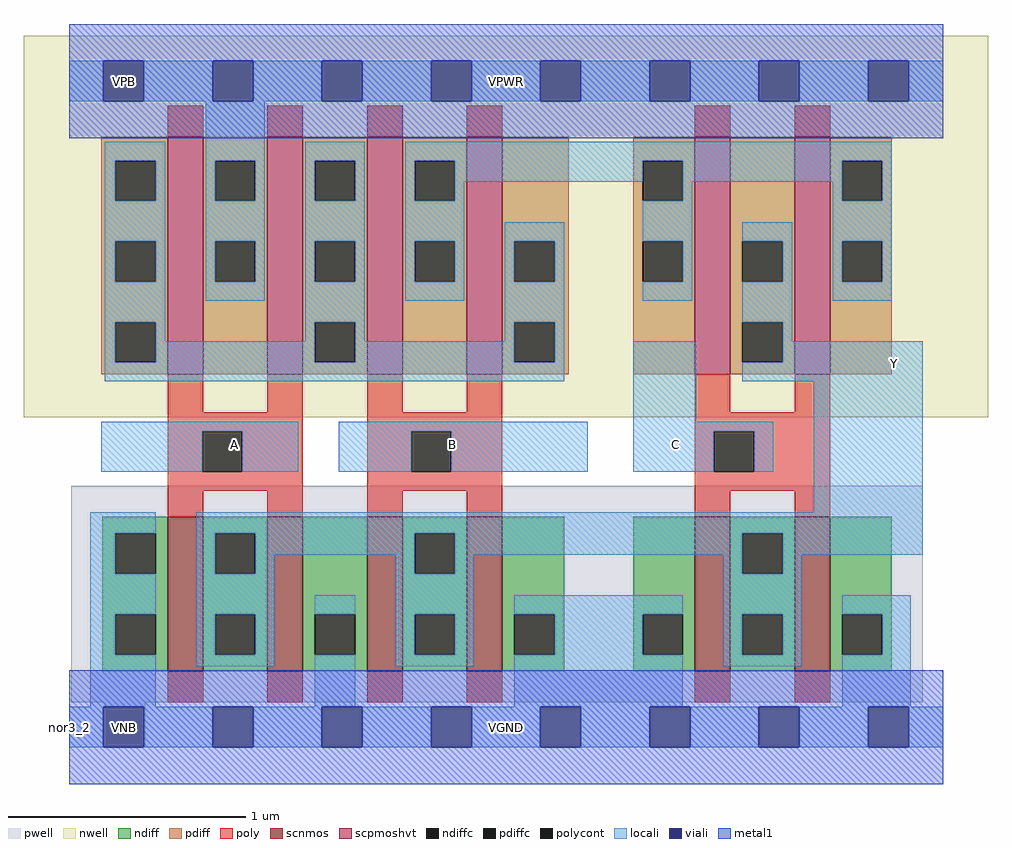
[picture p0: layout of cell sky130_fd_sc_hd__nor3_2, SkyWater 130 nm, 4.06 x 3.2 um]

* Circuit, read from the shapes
.subckt sky130_fd_sc_hd__nor3_2 A B C VGND VNB VPB VPWR Y
XM1 Y A VGND VNB sky130_fd_pr__nfet_01v8 w=0.65 l=0.15 m=2
XM2 Y B VGND VNB sky130_fd_pr__nfet_01v8 w=0.65 l=0.15 m=2
XM3 Y C VGND VNB sky130_fd_pr__nfet_01v8 w=0.65 l=0.15 m=2
XM4 VPWR A n1 VPB sky130_fd_pr__pfet_01v8_hvt w=1 l=0.15 m=2
XM5 n2 B n1 VPB sky130_fd_pr__pfet_01v8_hvt w=1 l=0.15 m=2
XM6 Y C n2 VPB sky130_fd_pr__pfet_01v8_hvt w=1 l=0.15 m=2
.ends

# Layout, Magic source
magic
tech sky130B
magscale 1 2
<< nwell >>
rect -38 261 774 582
<< pwell >>
rect 2 21 719 203
rect 30 -17 64 21
<< scnmos >>
rect 83 47 113 177
rect 167 47 197 177
rect 251 47 281 177
rect 335 47 365 177
rect 527 47 557 177
rect 611 47 641 177
<< scpmoshvt >>
rect 83 297 113 497
rect 167 297 197 497
rect 251 297 281 497
rect 335 297 365 497
rect 527 297 557 497
rect 611 297 641 497
<< ndiff >>
rect 28 163 83 177
rect 28 129 39 163
rect 73 129 83 163
rect 28 95 83 129
rect 28 61 39 95
rect 73 61 83 95
rect 28 47 83 61
rect 113 163 167 177
rect 113 129 123 163
rect 157 129 167 163
rect 113 95 167 129
rect 113 61 123 95
rect 157 61 167 95
rect 113 47 167 61
rect 197 95 251 177
rect 197 61 207 95
rect 241 61 251 95
rect 197 47 251 61
rect 281 163 335 177
rect 281 129 291 163
rect 325 129 335 163
rect 281 95 335 129
rect 281 61 291 95
rect 325 61 335 95
rect 281 47 335 61
rect 365 95 417 177
rect 365 61 375 95
rect 409 61 417 95
rect 365 47 417 61
rect 475 95 527 177
rect 475 61 483 95
rect 517 61 527 95
rect 475 47 527 61
rect 557 163 611 177
rect 557 129 567 163
rect 601 129 611 163
rect 557 95 611 129
rect 557 61 567 95
rect 601 61 611 95
rect 557 47 611 61
rect 641 95 693 177
rect 641 61 651 95
rect 685 61 693 95
rect 641 47 693 61
<< pdiff >>
rect 27 477 83 497
rect 27 443 39 477
rect 73 443 83 477
rect 27 409 83 443
rect 27 375 39 409
rect 73 375 83 409
rect 27 341 83 375
rect 27 307 39 341
rect 73 307 83 341
rect 27 297 83 307
rect 113 477 167 497
rect 113 443 123 477
rect 157 443 167 477
rect 113 409 167 443
rect 113 375 123 409
rect 157 375 167 409
rect 113 297 167 375
rect 197 477 251 497
rect 197 443 207 477
rect 241 443 251 477
rect 197 409 251 443
rect 197 375 207 409
rect 241 375 251 409
rect 197 341 251 375
rect 197 307 207 341
rect 241 307 251 341
rect 197 297 251 307
rect 281 477 335 497
rect 281 443 291 477
rect 325 443 335 477
rect 281 409 335 443
rect 281 375 291 409
rect 325 375 335 409
rect 281 297 335 375
rect 365 409 421 497
rect 365 375 375 409
rect 409 375 421 409
rect 365 341 421 375
rect 365 307 375 341
rect 409 307 421 341
rect 365 297 421 307
rect 475 477 527 497
rect 475 443 483 477
rect 517 443 527 477
rect 475 409 527 443
rect 475 375 483 409
rect 517 375 527 409
rect 475 297 527 375
rect 557 409 611 497
rect 557 375 567 409
rect 601 375 611 409
rect 557 341 611 375
rect 557 307 567 341
rect 601 307 611 341
rect 557 297 611 307
rect 641 477 693 497
rect 641 443 651 477
rect 685 443 693 477
rect 641 409 693 443
rect 641 375 651 409
rect 685 375 693 409
rect 641 297 693 375
<< ndiffc >>
rect 39 129 73 163
rect 39 61 73 95
rect 123 129 157 163
rect 123 61 157 95
rect 207 61 241 95
rect 291 129 325 163
rect 291 61 325 95
rect 375 61 409 95
rect 483 61 517 95
rect 567 129 601 163
rect 567 61 601 95
rect 651 61 685 95
<< pdiffc >>
rect 39 443 73 477
rect 39 375 73 409
rect 39 307 73 341
rect 123 443 157 477
rect 123 375 157 409
rect 207 443 241 477
rect 207 375 241 409
rect 207 307 241 341
rect 291 443 325 477
rect 291 375 325 409
rect 375 375 409 409
rect 375 307 409 341
rect 483 443 517 477
rect 483 375 517 409
rect 567 375 601 409
rect 567 307 601 341
rect 651 443 685 477
rect 651 375 685 409
<< poly >>
rect 83 497 113 523
rect 167 497 197 523
rect 251 497 281 523
rect 335 497 365 523
rect 527 497 557 523
rect 611 497 641 523
rect 83 265 113 297
rect 167 265 197 297
rect 83 249 197 265
rect 83 215 112 249
rect 146 215 197 249
rect 83 199 197 215
rect 83 177 113 199
rect 167 177 197 199
rect 251 265 281 297
rect 335 265 365 297
rect 251 249 365 265
rect 251 215 288 249
rect 322 215 365 249
rect 251 199 365 215
rect 251 177 281 199
rect 335 177 365 199
rect 527 265 557 297
rect 611 265 641 297
rect 527 249 641 265
rect 527 215 543 249
rect 577 215 641 249
rect 527 199 641 215
rect 527 177 557 199
rect 611 177 641 199
rect 83 21 113 47
rect 167 21 197 47
rect 251 21 281 47
rect 335 21 365 47
rect 527 21 557 47
rect 611 21 641 47
<< polycont >>
rect 112 215 146 249
rect 288 215 322 249
rect 543 215 577 249
<< locali >>
rect 0 527 29 561
rect 63 527 121 561
rect 155 527 213 561
rect 247 527 305 561
rect 339 527 397 561
rect 431 527 489 561
rect 523 527 581 561
rect 615 527 673 561
rect 707 527 736 561
rect 30 477 81 493
rect 30 443 39 477
rect 73 443 81 477
rect 30 409 81 443
rect 30 375 39 409
rect 73 375 81 409
rect 30 341 81 375
rect 115 477 165 527
rect 115 443 123 477
rect 157 443 165 477
rect 115 409 165 443
rect 115 375 123 409
rect 157 375 165 409
rect 115 359 165 375
rect 199 477 249 493
rect 199 443 207 477
rect 241 443 249 477
rect 199 409 249 443
rect 199 375 207 409
rect 241 375 249 409
rect 30 307 39 341
rect 73 325 81 341
rect 199 341 249 375
rect 283 477 693 493
rect 283 443 291 477
rect 325 459 483 477
rect 325 443 333 459
rect 283 409 333 443
rect 517 459 651 477
rect 517 443 525 459
rect 283 375 291 409
rect 325 375 333 409
rect 283 359 333 375
rect 367 409 417 425
rect 367 375 375 409
rect 409 375 417 409
rect 199 325 207 341
rect 73 307 207 325
rect 241 325 249 341
rect 367 341 417 375
rect 483 409 525 443
rect 643 443 651 459
rect 685 443 693 477
rect 517 375 525 409
rect 483 359 525 375
rect 567 409 609 425
rect 601 375 609 409
rect 367 325 375 341
rect 241 307 375 325
rect 409 307 417 341
rect 567 341 609 375
rect 643 409 693 443
rect 643 375 651 409
rect 685 375 693 409
rect 643 359 693 375
rect 30 291 417 307
rect 475 257 528 325
rect 601 325 609 341
rect 601 307 719 325
rect 567 291 719 307
rect 27 249 193 257
rect 27 215 112 249
rect 146 215 193 249
rect 227 249 437 257
rect 227 215 288 249
rect 322 215 437 249
rect 475 249 593 257
rect 475 215 543 249
rect 577 215 593 249
rect 627 181 719 291
rect 18 163 73 181
rect 18 129 39 163
rect 18 95 73 129
rect 18 61 39 95
rect 18 17 73 61
rect 107 163 719 181
rect 107 129 123 163
rect 157 145 291 163
rect 157 129 173 145
rect 107 95 173 129
rect 275 129 291 145
rect 325 145 567 163
rect 325 129 341 145
rect 107 61 123 95
rect 157 61 173 95
rect 107 51 173 61
rect 207 95 241 111
rect 207 17 241 61
rect 275 95 341 129
rect 551 129 567 145
rect 601 145 719 163
rect 601 129 617 145
rect 275 61 291 95
rect 325 61 341 95
rect 275 51 341 61
rect 375 95 517 111
rect 409 61 483 95
rect 375 17 517 61
rect 551 95 617 129
rect 551 61 567 95
rect 601 61 617 95
rect 551 51 617 61
rect 651 95 709 111
rect 685 61 709 95
rect 651 17 709 61
rect 0 -17 29 17
rect 63 -17 121 17
rect 155 -17 213 17
rect 247 -17 305 17
rect 339 -17 397 17
rect 431 -17 489 17
rect 523 -17 581 17
rect 615 -17 673 17
rect 707 -17 736 17
<< viali >>
rect 29 527 63 561
rect 121 527 155 561
rect 213 527 247 561
rect 305 527 339 561
rect 397 527 431 561
rect 489 527 523 561
rect 581 527 615 561
rect 673 527 707 561
rect 29 -17 63 17
rect 121 -17 155 17
rect 213 -17 247 17
rect 305 -17 339 17
rect 397 -17 431 17
rect 489 -17 523 17
rect 581 -17 615 17
rect 673 -17 707 17
<< metal1 >>
rect 0 561 736 592
rect 0 527 29 561
rect 63 527 121 561
rect 155 527 213 561
rect 247 527 305 561
rect 339 527 397 561
rect 431 527 489 561
rect 523 527 581 561
rect 615 527 673 561
rect 707 527 736 561
rect 0 496 736 527
rect 0 17 736 48
rect 0 -17 29 17
rect 63 -17 121 17
rect 155 -17 213 17
rect 247 -17 305 17
rect 339 -17 397 17
rect 431 -17 489 17
rect 523 -17 581 17
rect 615 -17 673 17
rect 707 -17 736 17
rect 0 -48 736 -17
<< labels >>
flabel locali s 494 221 528 255 0 FreeSans 400 0 0 0 C
port 3 nsew signal input
flabel locali s 678 289 712 323 0 FreeSans 400 0 0 0 Y
port 8 nsew signal output
flabel locali s 122 221 156 255 0 FreeSans 400 0 0 0 A
port 1 nsew signal input
flabel locali s 306 221 340 255 0 FreeSans 400 0 0 0 B
port 2 nsew signal input
flabel nwell s 30 527 64 561 0 FreeSans 200 0 0 0 VPB
port 6 nsew power bidirectional
flabel pwell s 30 -17 64 17 0 FreeSans 200 0 0 0 VNB
port 5 nsew ground bidirectional
flabel metal1 s 30 -17 64 17 0 FreeSans 200 0 0 0 VGND
port 4 nsew ground bidirectional abutment
flabel metal1 s 30 527 64 561 0 FreeSans 200 0 0 0 VPWR
port 7 nsew power bidirectional abutment
rlabel comment s 0 0 0 0 4 nor3_2
rlabel metal1 s 0 -48 736 48 1 VGND
port 4 nsew ground bidirectional abutment
rlabel metal1 s 0 496 736 592 1 VPWR
port 7 nsew power bidirectional abutment
<< properties >>
string FIXED_BBOX 0 0 736 544
string GDS_END 2005896
string GDS_FILE $PDKPATH/libs.ref/sky130_fd_sc_hd/gds/sky130_fd_sc_hd.gds
string GDS_START 1999348
string LEFclass CORE
string LEFsite unithd
string LEFsymmetry X Y R90
string path 0.000 0.000 18.400 0.000 
<< end >>
